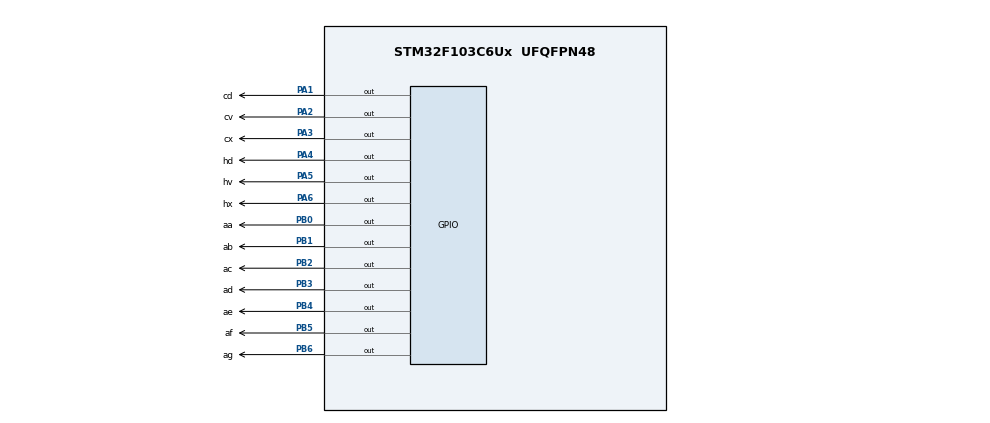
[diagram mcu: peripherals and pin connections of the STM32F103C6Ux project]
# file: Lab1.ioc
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Mcu.Family=STM32F1
Mcu.Name=STM32F103C6Ux
Mcu.Package=UFQFPN48
NVIC.PriorityGroup=NVIC_PRIORITYGROUP_4
PA1.GPIO_Label=cd
PA1.Signal=GPIO_Output
PA2.GPIO_Label=cv
PA2.Signal=GPIO_Output
PA3.GPIO_Label=cx
PA3.Signal=GPIO_Output
PA4.GPIO_Label=hd
PA4.Signal=GPIO_Output
PA5.GPIO_Label=hv
PA5.Signal=GPIO_Output
PA6.GPIO_Label=hx
PA6.Signal=GPIO_Output
PB0.GPIO_Label=aa
PB0.Signal=GPIO_Output
PB1.GPIO_Label=ab
PB1.Signal=GPIO_Output
PB2.GPIO_Label=ac
PB2.Signal=GPIO_Output
PB3.GPIO_Label=ad
PB3.Signal=GPIO_Output
PB4.GPIO_Label=ae
PB4.Signal=GPIO_Output
PB5.GPIO_Label=af
PB5.Signal=GPIO_Output
PB6.GPIO_Label=ag
PB6.Signal=GPIO_Output
ProjectManager.HeapSize=0x200
ProjectManager.StackSize=0x400
ProjectManager.TargetToolchain=STM32CubeIDE
RCC.APB1Freq_Value=8000000
RCC.APB2Freq_Value=8000000
VP_SYS_VS_ND.Mode=No_Debug
board=custom

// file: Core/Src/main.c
/* USER CODE BEGIN Header */
/**
  ******************************************************************************
  * @file           : main.c
  * @brief          : Main program body
  ******************************************************************************
  * @attention
  *
  * <h2><center>&copy; Copyright (c) 2023 STMicroelectronics.
  * All rights reserved.</center></h2>
  *
  * This software component is licensed by ST under BSD 3-Clause license,
  * the "License"; You may not use this file except in compliance with the
  * License. You may obtain a copy of the License at:
  *                        opensource.org/licenses/BSD-3-Clause
  *
  ******************************************************************************
  */
/* USER CODE END Header */
#include "main.h"

void SystemClock_Config(void);

/* USER CODE BEGIN 0 */

void display7SEG (int num) {
  if ( num == 0) {
	HAL_GPIO_WritePin ( aa_GPIO_Port , aa_Pin , GPIO_PIN_RESET ) ;
	HAL_GPIO_WritePin ( ab_GPIO_Port , ab_Pin , GPIO_PIN_RESET ) ;
	HAL_GPIO_WritePin ( ac_GPIO_Port , ac_Pin , GPIO_PIN_RESET ) ;
	HAL_GPIO_WritePin ( ad_GPIO_Port , ad_Pin , GPIO_PIN_RESET ) ;
	HAL_GPIO_WritePin ( ae_GPIO_Port , ae_Pin , GPIO_PIN_RESET ) ;
	HAL_GPIO_WritePin ( af_GPIO_Port , af_Pin , GPIO_PIN_RESET ) ;
	HAL_GPIO_WritePin ( ag_GPIO_Port , ag_Pin , GPIO_PIN_SET ) ;
 }
  if ( num == 1) {
	HAL_GPIO_WritePin ( aa_GPIO_Port , aa_Pin , GPIO_PIN_SET ) ;
	HAL_GPIO_WritePin ( ab_GPIO_Port , ab_Pin , GPIO_PIN_RESET ) ;
	HAL_GPIO_WritePin ( ac_GPIO_Port , ac_Pin , GPIO_PIN_RESET ) ;
	HAL_GPIO_WritePin ( ad_GPIO_Port , ad_Pin , GPIO_PIN_SET ) ;
	HAL_GPIO_WritePin ( ae_GPIO_Port , ae_Pin , GPIO_PIN_SET ) ;
	HAL_GPIO_WritePin ( af_GPIO_Port , af_Pin , GPIO_PIN_SET ) ;
	HAL_GPIO_WritePin ( ag_GPIO_Port , ag_Pin , GPIO_PIN_SET ) ;
 }
  if ( num == 2) {
	HAL_GPIO_WritePin ( aa_GPIO_Port , aa_Pin , GPIO_PIN_RESET ) ;
	HAL_GPIO_WritePin ( ab_GPIO_Port , ab_Pin , GPIO_PIN_RESET ) ;
	HAL_GPIO_WritePin ( ac_GPIO_Port , ac_Pin , GPIO_PIN_SET ) ;
	HAL_GPIO_WritePin ( ad_GPIO_Port , ad_Pin , GPIO_PIN_RESET ) ;
	HAL_GPIO_WritePin ( ae_GPIO_Port , ae_Pin , GPIO_PIN_RESET ) ;
	HAL_GPIO_WritePin ( af_GPIO_Port , af_Pin , GPIO_PIN_SET ) ;
	HAL_GPIO_WritePin ( ag_GPIO_Port , ag_Pin , GPIO_PIN_RESET ) ;
 }
  if ( num == 3) {
	HAL_GPIO_WritePin ( aa_GPIO_Port , aa_Pin , GPIO_PIN_RESET ) ;
	HAL_GPIO_WritePin ( ab_GPIO_Port , ab_Pin , GPIO_PIN_RESET ) ;
	HAL_GPIO_WritePin ( ac_GPIO_Port , ac_Pin , GPIO_PIN_RESET ) ;
	HAL_GPIO_WritePin ( ad_GPIO_Port , ad_Pin , GPIO_PIN_RESET ) ;
	HAL_GPIO_WritePin ( ae_GPIO_Port , ae_Pin , GPIO_PIN_SET ) ;
	HAL_GPIO_WritePin ( af_GPIO_Port , af_Pin , GPIO_PIN_SET ) ;
	HAL_GPIO_WritePin ( ag_GPIO_Port , ag_Pin , GPIO_PIN_RESET ) ;
 }
  if ( num == 4) {
	HAL_GPIO_WritePin ( aa_GPIO_Port , aa_Pin , GPIO_PIN_SET ) ;
	HAL_GPIO_WritePin ( ab_GPIO_Port , ab_Pin , GPIO_PIN_RESET ) ;
	HAL_GPIO_WritePin ( ac_GPIO_Port , ac_Pin , GPIO_PIN_RESET ) ;
	HAL_GPIO_WritePin ( ad_GPIO_Port , ad_Pin , GPIO_PIN_SET ) ;
	HAL_GPIO_WritePin ( ae_GPIO_Port , ae_Pin , GPIO_PIN_SET ) ;
	HAL_GPIO_WritePin ( af_GPIO_Port , af_Pin , GPIO_PIN_RESET ) ;
	HAL_GPIO_WritePin ( ag_GPIO_Port , ag_Pin , GPIO_PIN_RESET ) ;
 }
  if ( num == 5) {
	HAL_GPIO_WritePin ( aa_GPIO_Port , aa_Pin , GPIO_PIN_RESET ) ;
	HAL_GPIO_WritePin ( ab_GPIO_Port , ab_Pin , GPIO_PIN_SET ) ;
	HAL_GPIO_WritePin ( ac_GPIO_Port , ac_Pin , GPIO_PIN_RESET ) ;
	HAL_GPIO_WritePin ( ad_GPIO_Port , ad_Pin , GPIO_PIN_RESET ) ;
	HAL_GPIO_WritePin ( ae_GPIO_Port , ae_Pin , GPIO_PIN_SET ) ;
	HAL_GPIO_WritePin ( af_GPIO_Port , af_Pin , GPIO_PIN_RESET ) ;
	HAL_GPIO_WritePin ( ag_GPIO_Port , ag_Pin , GPIO_PIN_RESET ) ;
 }
  if ( num == 6) {
	HAL_GPIO_WritePin ( aa_GPIO_Port , aa_Pin , GPIO_PIN_RESET ) ;
	HAL_GPIO_WritePin ( ab_GPIO_Port , ab_Pin , GPIO_PIN_SET ) ;
	HAL_GPIO_WritePin ( ac_GPIO_Port , ac_Pin , GPIO_PIN_RESET ) ;
	HAL_GPIO_WritePin ( ad_GPIO_Port , ad_Pin , GPIO_PIN_RESET ) ;
	HAL_GPIO_WritePin ( ae_GPIO_Port , ae_Pin , GPIO_PIN_RESET ) ;
	HAL_GPIO_WritePin ( af_GPIO_Port , af_Pin , GPIO_PIN_RESET ) ;
	HAL_GPIO_WritePin ( ag_GPIO_Port , ag_Pin , GPIO_PIN_RESET ) ;
 }
  if ( num == 7) {
	HAL_GPIO_WritePin ( aa_GPIO_Port , aa_Pin , GPIO_PIN_RESET ) ;
	HAL_GPIO_WritePin ( ab_GPIO_Port , ab_Pin , GPIO_PIN_RESET ) ;
	HAL_GPIO_WritePin ( ac_GPIO_Port , ac_Pin , GPIO_PIN_RESET ) ;
	HAL_GPIO_WritePin ( ad_GPIO_Port , ad_Pin , GPIO_PIN_SET ) ;
	HAL_GPIO_WritePin ( ae_GPIO_Port , ae_Pin , GPIO_PIN_SET ) ;
	HAL_GPIO_WritePin ( af_GPIO_Port , af_Pin , GPIO_PIN_SET ) ;
	HAL_GPIO_WritePin ( ag_GPIO_Port , ag_Pin , GPIO_PIN_SET ) ;
 }
  if ( num == 8) {
	HAL_GPIO_WritePin ( aa_GPIO_Port , aa_Pin , GPIO_PIN_RESET ) ;
	HAL_GPIO_WritePin ( ab_GPIO_Port , ab_Pin , GPIO_PIN_RESET ) ;
	HAL_GPIO_WritePin ( ac_GPIO_Port , ac_Pin , GPIO_PIN_RESET ) ;
	HAL_GPIO_WritePin ( ad_GPIO_Port , ad_Pin , GPIO_PIN_RESET ) ;
	HAL_GPIO_WritePin ( ae_GPIO_Port , ae_Pin , GPIO_PIN_RESET ) ;
	HAL_GPIO_WritePin ( af_GPIO_Port , af_Pin , GPIO_PIN_RESET ) ;
	HAL_GPIO_WritePin ( ag_GPIO_Port , ag_Pin , GPIO_PIN_RESET ) ;
 }
  if ( num == 9) {
	HAL_GPIO_WritePin ( aa_GPIO_Port , aa_Pin , GPIO_PIN_RESET ) ;
	HAL_GPIO_WritePin ( ab_GPIO_Port , ab_Pin , GPIO_PIN_RESET ) ;
	HAL_GPIO_WritePin ( ac_GPIO_Port , ac_Pin , GPIO_PIN_RESET ) ;
	HAL_GPIO_WritePin ( ad_GPIO_Port , ad_Pin , GPIO_PIN_RESET ) ;
	HAL_GPIO_WritePin ( ae_GPIO_Port , ae_Pin , GPIO_PIN_SET ) ;
	HAL_GPIO_WritePin ( af_GPIO_Port , af_Pin , GPIO_PIN_RESET ) ;
	HAL_GPIO_WritePin ( ag_GPIO_Port , ag_Pin , GPIO_PIN_RESET ) ;
 }
}

/* USER CODE END 0 */

int main(void)
{

  /* MCU Configuration--------------------------------------------------------*/

  /* Reset of all peripherals, Initializes the Flash interface and the Systick. */
  HAL_Init();

  /* Configure the system clock */
  SystemClock_Config();

  /* Initialize all configured peripherals */

  /* Infinite loop */
  /* USER CODE BEGIN WHILE */
int counter = 0;
while (1) {
  if( counter >= 10) counter = 0;
  	  display7SEG (counter ++) ;
  	  HAL_Delay (1000) ;

    /* USER CODE END WHILE */

  }
}

void SystemClock_Config(void)
{
  RCC_OscInitTypeDef RCC_OscInitStruct = {0};
  RCC_ClkInitTypeDef RCC_ClkInitStruct = {0};

  /** Initializes the RCC Oscillators according to the specified parameters
  * in the RCC_OscInitTypeDef structure.
  */
  RCC_OscInitStruct.OscillatorType = RCC_OSCILLATORTYPE_HSI;
  RCC_OscInitStruct.HSIState = RCC_HSI_ON;
  RCC_OscInitStruct.HSICalibrationValue = RCC_HSICALIBRATION_DEFAULT;
  RCC_OscInitStruct.PLL.PLLState = RCC_PLL_NONE;
  if (HAL_RCC_OscConfig(&RCC_OscInitStruct) != HAL_OK)
  {
    Error_Handler();
  }
  /** Initializes the CPU, AHB and APB buses clocks
  */
  RCC_ClkInitStruct.ClockType = RCC_CLOCKTYPE_HCLK|RCC_CLOCKTYPE_SYSCLK
                              |RCC_CLOCKTYPE_PCLK1|RCC_CLOCKTYPE_PCLK2;
  RCC_ClkInitStruct.SYSCLKSource = RCC_SYSCLKSOURCE_HSI;
  RCC_ClkInitStruct.AHBCLKDivider = RCC_SYSCLK_DIV1;
  RCC_ClkInitStruct.APB1CLKDivider = RCC_HCLK_DIV1;
  RCC_ClkInitStruct.APB2CLKDivider = RCC_HCLK_DIV1;

  if (HAL_RCC_ClockConfig(&RCC_ClkInitStruct, FLASH_LATENCY_0) != HAL_OK)
  {
    Error_Handler();
  }
}

void Error_Handler(void)
{
  __disable_irq();
  while (1)
  {
  }
}

/************************ (C) COPYRIGHT STMicroelectronics *****END OF FILE****/
